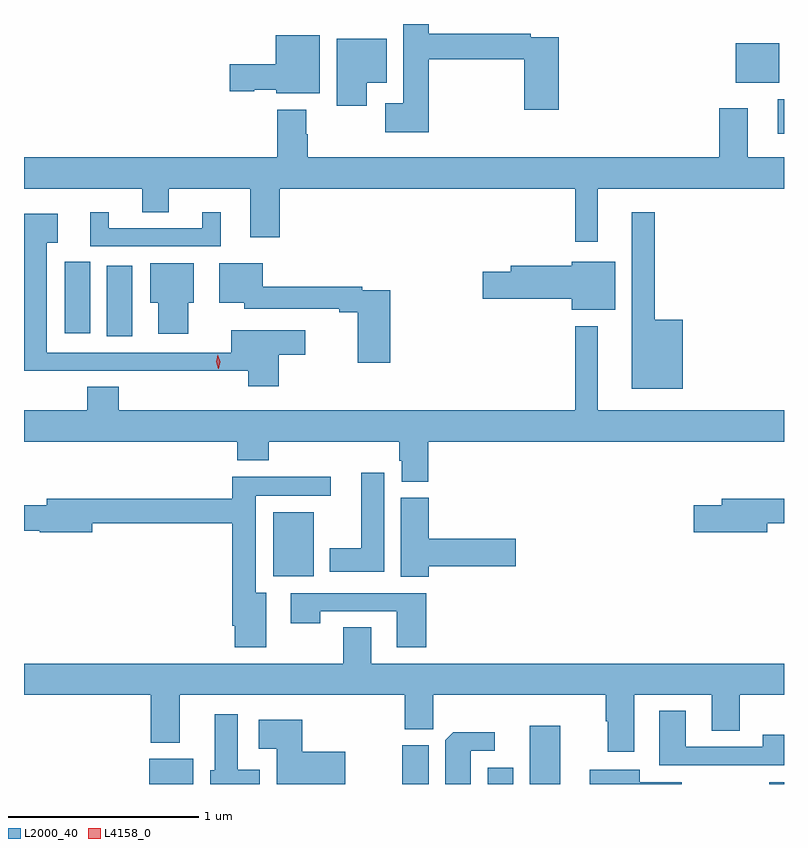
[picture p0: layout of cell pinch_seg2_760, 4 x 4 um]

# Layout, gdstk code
import gdstk
lib = gdstk.Library(unit=1e-6, precision=1e-09)
def R(c, l, rs):  # rectangles x0, y0, x1, y1
    for r in rs: c.add(gdstk.rectangle(r[:2], r[2:], *l))
def P(c, l, *ps):  # polygons
    for p in ps: c.add(gdstk.Polygon(p, *l))
L2000_40 = (2000, 40)
L4158_0 = (4158, 0)

pinch_seg2_760 = lib.new_cell('pinch_seg2_760')
R(pinch_seg2_760, L2000_40, [(664.634,640.506,664.867,640.639), (665.966,640.506,666.106,640.71), (666.416,640.506,666.55,640.591), (666.638,640.506,666.799,640.813), (667.898,640.506,667.976,640.516), (665.288,641.6,665.5,641.935), (664.412,642.862,664.546,643.234), (664.19,642.879,664.324,643.254), (667.943,643.929,667.976,644.109), (667.721,644.198,667.951,644.404)])
P(pinch_seg2_760, L2000_40, [(666.107,644.32),(666.608,644.32),(666.608,644.055),(666.791,644.055),(666.791,644.436),(666.644,644.436),(666.644,644.456),(666.107,644.456),(666.107,644.506),(665.972,644.506),(665.972,644.089),(665.877,644.089),(665.877,643.937),(666.107,643.937)],
  [(665.533,644.446),(665.3,644.446),(665.3,644.294),(665.058,644.294),(665.058,644.152),(665.187,644.152),(665.187,644.159),(665.304,644.159),(665.304,644.141),(665.533,644.141)],
  [(665.779,644.198),(665.884,644.198),(665.884,644.428),(665.621,644.428),(665.621,644.076),(665.779,644.076)],
  [(666.997,643.64),(667.976,643.64),(667.976,643.804),(667.786,643.804),(667.786,644.062),(667.634,644.062),(667.634,643.804),(665.469,643.804),(665.469,643.925),(665.461,643.925),(665.461,644.056),(665.309,644.056),(665.309,643.804),(663.976,643.804),(663.976,643.64),(664.598,643.64),(664.598,643.516),(664.738,643.516),(664.738,643.64),(665.168,643.64),(665.168,643.383),(665.321,643.383),(665.321,643.64),(666.876,643.64),(666.876,643.359),(666.997,643.359)],
  [(667.444,642.949),(667.297,642.949),(667.297,643.516),(667.175,643.516),(667.175,642.587),(667.444,642.587)],
  [(665.011,643.516),(664.913,643.516),(664.913,643.431),(664.423,643.431),(664.423,643.516),(664.325,643.516),(664.325,643.335),(665.011,643.335)],
  [(665.316,642.766),(665.455,642.766),(665.455,642.895),(665.066,642.895),(665.066,642.777),(664.096,642.777),(664.096,643.355),(664.153,643.355),(664.153,643.507),(663.976,643.507),(663.976,642.68),(664.192,642.68),(664.192,642.681),(664.558,642.681),(664.558,642.68),(665.156,642.68),(665.156,642.6),(665.316,642.6)],
  [(667.087,643.255),(666.86,643.255),(666.86,643.233),(666.539,643.233),(666.539,643.203),(666.39,643.203),(666.39,643.061),(666.86,643.061),(666.86,643.001),(667.087,643.001)],
  [(665.903,643.104),(665.756,643.104),(665.756,643.124),(665.232,643.124),(665.232,643.246),(665.003,643.246),(665.003,643.04),(665.136,643.04),(665.136,643.008),(665.636,643.008),(665.636,642.988),(665.732,642.988),(665.732,642.723),(665.903,642.723)],
  [(664.84,643.04),(664.87,643.04),(664.87,643.246),(664.64,643.246),(664.64,643.04),(664.682,643.04),(664.682,642.876),(664.84,642.876)],
  [(666.104,642.308),(667.976,642.308),(667.976,642.472),(666.997,642.472),(666.997,642.916),(666.876,642.916),(666.876,642.472),(664.475,642.472),(664.475,642.596),(664.31,642.596),(664.31,642.472),(663.976,642.472),(663.976,642.308),(665.099,642.308),(665.099,642.209),(665.264,642.209),(665.264,642.308),(665.951,642.308),(665.951,642.207),(665.963,642.207),(665.963,642.097),(666.104,642.097)],
  [(665.872,642.145),(665.75,642.145),(665.75,641.746),(665.585,641.746),(665.585,641.624),(665.872,641.624)],
  [(665.251,641.512),(665.197,641.512),(665.197,642.024),(665.59,642.024),(665.59,642.122),(665.072,642.122),(665.072,642.007),(664.097,642.007),(664.097,641.973),(663.976,641.973),(663.976,641.84),(664.06,641.84),(664.06,641.831),(664.336,641.831),(664.336,641.878),(665.072,641.878),(665.072,641.338),(665.084,641.338),(665.084,641.226),(665.251,641.226)],
  [(666.107,641.651),(666.565,641.651),(666.565,641.798),(666.107,641.798),(666.107,642.012),(665.96,642.012),(665.96,641.596),(666.107,641.596)],
  [(667.888,641.878),(667.976,641.878),(667.976,642.007),(667.649,642.007),(667.649,641.973),(667.5,641.973),(667.5,641.831),(667.888,641.831)],
  [(666.092,641.511),(665.379,641.511),(665.379,641.352),(665.535,641.352),(665.535,641.415),(665.939,641.415),(665.939,641.226),(666.092,641.226)],
  [(667.189,640.976),(667.595,640.976),(667.595,640.786),(667.743,640.786),(667.743,640.976),(667.976,640.976),(667.976,641.14),(665.803,641.14),(665.803,641.33),(665.656,641.33),(665.656,641.14),(663.976,641.14),(663.976,640.976),(664.643,640.976),(664.643,640.724),(664.795,640.724),(664.795,640.976),(665.981,640.976),(665.981,640.795),(666.131,640.795),(666.131,640.976),(667.037,640.976),(667.037,640.835),(667.049,640.835),(667.049,640.677),(667.189,640.677)],
  [(667.976,640.765),(667.864,640.765),(667.864,640.701),(667.459,640.701),(667.459,640.891),(667.319,640.891),(667.319,640.605),(667.976,640.605)],
  [(665.218,640.582),(665.101,640.582),(665.101,640.873),(664.979,640.873),(664.979,640.578),(664.955,640.578),(664.955,640.506),(665.218,640.506)],
  [(665.668,640.675),(665.441,640.675),(665.441,640.843),(665.211,640.843),(665.211,640.691),(665.306,640.691),(665.306,640.506),(665.668,640.506)],
  [(666.328,640.68),(666.454,640.68),(666.454,640.778),(666.235,640.778),(666.194,640.736),(666.194,640.506),(666.328,640.506)],
  [(667.438,640.516),(667.218,640.516),(667.218,640.582),(666.953,640.582),(666.953,640.506),(667.438,640.506)])
P(pinch_seg2_760, L4158_0, [(664.999,642.692),(664.999,642.692),(664.988,642.728),(664.997,642.764),(664.997,642.764),(664.997,642.764),(665.008,642.729),(665,642.692)])

lib.write_gds('pinch_seg2_760.gds')
